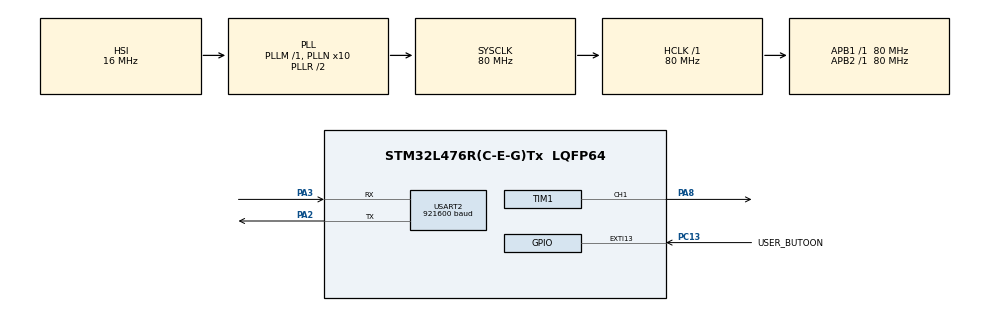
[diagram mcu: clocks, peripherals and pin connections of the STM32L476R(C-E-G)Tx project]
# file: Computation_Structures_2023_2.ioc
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Dma.Request0=USART2_TX
Dma.USART2_TX.0.Direction=DMA_MEMORY_TO_PERIPH
Dma.USART2_TX.0.Instance=DMA1_Channel7
Dma.USART2_TX.0.MemDataAlignment=DMA_MDATAALIGN_BYTE
Dma.USART2_TX.0.MemInc=DMA_MINC_ENABLE
Dma.USART2_TX.0.Mode=DMA_NORMAL
Dma.USART2_TX.0.PeriphDataAlignment=DMA_PDATAALIGN_BYTE
Dma.USART2_TX.0.PeriphInc=DMA_PINC_DISABLE
Dma.USART2_TX.0.Priority=DMA_PRIORITY_LOW
Mcu.Family=STM32L4
Mcu.Name=STM32L476R(C-E-G)Tx
Mcu.Package=LQFP64
NVIC.DMA1_Channel7_IRQn=true\:0\:0\:false\:false\:true\:false\:true\:true
NVIC.EXTI15_10_IRQn=true\:0\:0\:false\:false\:true\:true\:true\:true
NVIC.PriorityGroup=NVIC_PRIORITYGROUP_4
NVIC.TIM7_IRQn=true\:0\:0\:false\:false\:true\:true\:true\:true
NVIC.USART2_IRQn=true\:0\:0\:false\:false\:true\:true\:true\:true
PA2.Mode=Asynchronous
PA2.Signal=USART2_TX
PA3.Mode=Asynchronous
PA3.Signal=USART2_RX
PA8.Signal=S_TIM1_CH1
PC13.GPIO_Label=USER_BUTOON
PC13.Signal=GPXTI13
PH0-OSC_IN\ (PH0).Mode=HSE-External-Oscillator
PH0-OSC_IN\ (PH0).Signal=RCC_OSC_IN
PH1-OSC_OUT\ (PH1).Mode=HSE-External-Oscillator
PH1-OSC_OUT\ (PH1).Signal=RCC_OSC_OUT
ProjectManager.HeapSize=0x200
ProjectManager.StackSize=0x400
ProjectManager.TargetToolchain=STM32CubeIDE
RCC.ADCFreq_Value=64000000
RCC.AHBFreq_Value=80000000
RCC.APB1Freq_Value=80000000
RCC.APB1TimFreq_Value=80000000
RCC.APB2Freq_Value=80000000
RCC.APB2TimFreq_Value=80000000
RCC.CortexFreq_Value=80000000
RCC.HCLKFreq_Value=80000000
RCC.HSE_VALUE=8000000
RCC.HSI_VALUE=16000000
RCC.LSE_VALUE=32768
RCC.MSI_VALUE=4000000
RCC.PLLN=10
RCC.PLLSourceVirtual=RCC_PLLSOURCE_HSI
RCC.PREFETCH_ENABLE=1
RCC.SYSCLKFreq_VALUE=80000000
RCC.SYSCLKSource=RCC_SYSCLKSOURCE_PLLCLK
RCC.USBFreq_Value=64000000
RCC.VCOOutputFreq_Value=160000000
SH.S_TIM1_CH1.0=TIM1_CH1,PWM Generation1 CH1
TIM1.Channel-PWM\ Generation1\ CH1=TIM_CHANNEL_1
TIM1.Prescaler=800-1
TIM7.Period=10000-1
TIM7.Prescaler=8000-1
USART2.BaudRate=921600
USART2.VirtualMode-Asynchronous=VM_ASYNC
VP_TIM1_VS_ClockSourceINT.Mode=Internal
VP_TIM7_VS_ClockSourceINT.Mode=Enable_Timer
board=NUCLEO-L476RG

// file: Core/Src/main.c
/* USER CODE BEGIN Header */
/**
  ******************************************************************************
  * @file           : main.c
  * @brief          : Main program body
  ******************************************************************************
  * @attention
  *
  * Copyright (c) 2023 STMicroelectronics.
  * All rights reserved.
  *
  * This software is licensed under terms that can be found in the LICENSE file
  * in the root directory of this software component.
  * If no LICENSE file comes with this software, it is provided AS-IS.
  *
  ******************************************************************************
  */
/* USER CODE END Header */
#include "main.h"

/* USER CODE BEGIN Includes */
#include <stdio.h>
/* USER CODE END Includes */

TIM_HandleTypeDef htim1;
TIM_HandleTypeDef htim7;

UART_HandleTypeDef huart2;
DMA_HandleTypeDef hdma_usart2_tx;

void SystemClock_Config(void);
static void MX_GPIO_Init(void);
static void MX_DMA_Init(void);
static void MX_USART2_UART_Init(void);
static void MX_TIM7_Init(void);
static void MX_TIM1_Init(void);

/* USER CODE BEGIN 0 */
uint8_t Rx_data[4];
uint8_t tx_busy=0;
int _write(int file, char *ptr, int len)
{
	while (tx_busy != 0) {/* Wait */}
  HAL_UART_Transmit_DMA(&huart2, (uint8_t *)ptr, len);
  tx_busy = 1;
  return len;
}

void HAL_UART_RxCpltCallback(UART_HandleTypeDef *huart)
{
	printf("Received: [%s]\r\n", Rx_data);
		HAL_UART_Receive_IT(&huart2, Rx_data, 1);
}

void HAL_UART_TxCpltCallback(UART_HandleTypeDef *huart)
{
	tx_busy = 0;

}

void HAL_TIM_PeriodElapsedCallback(TIM_HandleTypeDef *htim)
{
	static uint32_t counter = 0;

	printf("counter: %ld\r\n", counter++);
}
/* USER CODE END 0 */

int main(void)
{

  /* MCU Configuration--------------------------------------------------------*/

  /* Reset of all peripherals, Initializes the Flash interface and the Systick. */
  HAL_Init();

  /* Configure the system clock */
  SystemClock_Config();

  /* Initialize all configured peripherals */
  MX_GPIO_Init();
  MX_DMA_Init();
  MX_USART2_UART_Init();
  MX_TIM7_Init();
  MX_TIM1_Init();
  /* USER CODE BEGIN 2 */

  HAL_UART_Receive_IT (&huart2, Rx_data, 1);

//  HAL_UART_Receive_DMA (&huart2, Rx_data, 4);

  HAL_TIM_Base_Start_IT(&htim7);

  TIM1->CCR1 = 40; // To set the compare channel 1
  HAL_TIM_PWM_Start (&htim1, TIM_CHANNEL_1);
  /* USER CODE END 2 */

  /* Infinite loop */
  /* USER CODE BEGIN WHILE */

  for (uint8_t idx =0; idx <= 0x0F; idx++)
	  printf("IDX: 0x%02X\r\n", idx);

  while (1)
  {
    /* USER CODE END WHILE */

    /* USER CODE BEGIN 3 */
	//  HAL_UART_Receive (&huart2, Rx_data, 4, 1000);

	// HAL_GPIO_TogglePin (GPIOA, GPIO_PIN_5);
	// HAL_Delay (250);
  }
  /* USER CODE END 3 */
}

void SystemClock_Config(void)
{
  RCC_OscInitTypeDef RCC_OscInitStruct = {0};
  RCC_ClkInitTypeDef RCC_ClkInitStruct = {0};

  /** Configure the main internal regulator output voltage
  */
  if (HAL_PWREx_ControlVoltageScaling(PWR_REGULATOR_VOLTAGE_SCALE1) != HAL_OK)
  {
    Error_Handler();
  }

  /** Initializes the RCC Oscillators according to the specified parameters
  * in the RCC_OscInitTypeDef structure.
  */
  RCC_OscInitStruct.OscillatorType = RCC_OSCILLATORTYPE_HSI;
  RCC_OscInitStruct.HSIState = RCC_HSI_ON;
  RCC_OscInitStruct.HSICalibrationValue = RCC_HSICALIBRATION_DEFAULT;
  RCC_OscInitStruct.PLL.PLLState = RCC_PLL_ON;
  RCC_OscInitStruct.PLL.PLLSource = RCC_PLLSOURCE_HSI;
  RCC_OscInitStruct.PLL.PLLM = 1;
  RCC_OscInitStruct.PLL.PLLN = 10;
  RCC_OscInitStruct.PLL.PLLP = RCC_PLLP_DIV7;
  RCC_OscInitStruct.PLL.PLLQ = RCC_PLLQ_DIV2;
  RCC_OscInitStruct.PLL.PLLR = RCC_PLLR_DIV2;
  if (HAL_RCC_OscConfig(&RCC_OscInitStruct) != HAL_OK)
  {
    Error_Handler();
  }

  /** Initializes the CPU, AHB and APB buses clocks
  */
  RCC_ClkInitStruct.ClockType = RCC_CLOCKTYPE_HCLK|RCC_CLOCKTYPE_SYSCLK
                              |RCC_CLOCKTYPE_PCLK1|RCC_CLOCKTYPE_PCLK2;
  RCC_ClkInitStruct.SYSCLKSource = RCC_SYSCLKSOURCE_PLLCLK;
  RCC_ClkInitStruct.AHBCLKDivider = RCC_SYSCLK_DIV1;
  RCC_ClkInitStruct.APB1CLKDivider = RCC_HCLK_DIV1;
  RCC_ClkInitStruct.APB2CLKDivider = RCC_HCLK_DIV1;

  if (HAL_RCC_ClockConfig(&RCC_ClkInitStruct, FLASH_LATENCY_4) != HAL_OK)
  {
    Error_Handler();
  }
}

static void MX_TIM1_Init(void)
{

  TIM_ClockConfigTypeDef sClockSourceConfig = {0};
  TIM_MasterConfigTypeDef sMasterConfig = {0};
  TIM_OC_InitTypeDef sConfigOC = {0};
  TIM_BreakDeadTimeConfigTypeDef sBreakDeadTimeConfig = {0};

  htim1.Instance = TIM1;
  htim1.Init.Prescaler = 800-1;
  htim1.Init.CounterMode = TIM_COUNTERMODE_UP;
  htim1.Init.Period = 100;
  htim1.Init.ClockDivision = TIM_CLOCKDIVISION_DIV1;
  htim1.Init.RepetitionCounter = 0;
  htim1.Init.AutoReloadPreload = TIM_AUTORELOAD_PRELOAD_DISABLE;
  if (HAL_TIM_Base_Init(&htim1) != HAL_OK)
  {
    Error_Handler();
  }
  sClockSourceConfig.ClockSource = TIM_CLOCKSOURCE_INTERNAL;
  if (HAL_TIM_ConfigClockSource(&htim1, &sClockSourceConfig) != HAL_OK)
  {
    Error_Handler();
  }
  if (HAL_TIM_PWM_Init(&htim1) != HAL_OK)
  {
    Error_Handler();
  }
  sMasterConfig.MasterOutputTrigger = TIM_TRGO_RESET;
  sMasterConfig.MasterOutputTrigger2 = TIM_TRGO2_RESET;
  sMasterConfig.MasterSlaveMode = TIM_MASTERSLAVEMODE_DISABLE;
  if (HAL_TIMEx_MasterConfigSynchronization(&htim1, &sMasterConfig) != HAL_OK)
  {
    Error_Handler();
  }
  sConfigOC.OCMode = TIM_OCMODE_PWM1;
  sConfigOC.Pulse = 0;
  sConfigOC.OCPolarity = TIM_OCPOLARITY_HIGH;
  sConfigOC.OCNPolarity = TIM_OCNPOLARITY_HIGH;
  sConfigOC.OCFastMode = TIM_OCFAST_DISABLE;
  sConfigOC.OCIdleState = TIM_OCIDLESTATE_RESET;
  sConfigOC.OCNIdleState = TIM_OCNIDLESTATE_RESET;
  if (HAL_TIM_PWM_ConfigChannel(&htim1, &sConfigOC, TIM_CHANNEL_1) != HAL_OK)
  {
    Error_Handler();
  }
  sBreakDeadTimeConfig.OffStateRunMode = TIM_OSSR_DISABLE;
  sBreakDeadTimeConfig.OffStateIDLEMode = TIM_OSSI_DISABLE;
  sBreakDeadTimeConfig.LockLevel = TIM_LOCKLEVEL_OFF;
  sBreakDeadTimeConfig.DeadTime = 0;
  sBreakDeadTimeConfig.BreakState = TIM_BREAK_DISABLE;
  sBreakDeadTimeConfig.BreakPolarity = TIM_BREAKPOLARITY_HIGH;
  sBreakDeadTimeConfig.BreakFilter = 0;
  sBreakDeadTimeConfig.Break2State = TIM_BREAK2_DISABLE;
  sBreakDeadTimeConfig.Break2Polarity = TIM_BREAK2POLARITY_HIGH;
  sBreakDeadTimeConfig.Break2Filter = 0;
  sBreakDeadTimeConfig.AutomaticOutput = TIM_AUTOMATICOUTPUT_DISABLE;
  if (HAL_TIMEx_ConfigBreakDeadTime(&htim1, &sBreakDeadTimeConfig) != HAL_OK)
  {
    Error_Handler();
  }
  HAL_TIM_MspPostInit(&htim1);

}

static void MX_TIM7_Init(void)
{

  TIM_MasterConfigTypeDef sMasterConfig = {0};

  htim7.Instance = TIM7;
  htim7.Init.Prescaler = 8000-1;
  htim7.Init.CounterMode = TIM_COUNTERMODE_UP;
  htim7.Init.Period = 10000-1;
  htim7.Init.AutoReloadPreload = TIM_AUTORELOAD_PRELOAD_DISABLE;
  if (HAL_TIM_Base_Init(&htim7) != HAL_OK)
  {
    Error_Handler();
  }
  sMasterConfig.MasterOutputTrigger = TIM_TRGO_RESET;
  sMasterConfig.MasterSlaveMode = TIM_MASTERSLAVEMODE_DISABLE;
  if (HAL_TIMEx_MasterConfigSynchronization(&htim7, &sMasterConfig) != HAL_OK)
  {
    Error_Handler();
  }

}

static void MX_USART2_UART_Init(void)
{

  huart2.Instance = USART2;
  huart2.Init.BaudRate = 921600;
  huart2.Init.WordLength = UART_WORDLENGTH_8B;
  huart2.Init.StopBits = UART_STOPBITS_1;
  huart2.Init.Parity = UART_PARITY_NONE;
  huart2.Init.Mode = UART_MODE_TX_RX;
  huart2.Init.HwFlowCtl = UART_HWCONTROL_NONE;
  huart2.Init.OverSampling = UART_OVERSAMPLING_16;
  huart2.Init.OneBitSampling = UART_ONE_BIT_SAMPLE_DISABLE;
  huart2.AdvancedInit.AdvFeatureInit = UART_ADVFEATURE_NO_INIT;
  if (HAL_UART_Init(&huart2) != HAL_OK)
  {
    Error_Handler();
  }

}

static void MX_DMA_Init(void)
{

  /* DMA controller clock enable */
  __HAL_RCC_DMA1_CLK_ENABLE();

  /* DMA interrupt init */
  /* DMA1_Channel7_IRQn interrupt configuration */
  HAL_NVIC_SetPriority(DMA1_Channel7_IRQn, 0, 0);
  HAL_NVIC_EnableIRQ(DMA1_Channel7_IRQn);

}

static void MX_GPIO_Init(void)
{
  GPIO_InitTypeDef GPIO_InitStruct = {0};

  /* GPIO Ports Clock Enable */
  __HAL_RCC_GPIOC_CLK_ENABLE();
  __HAL_RCC_GPIOH_CLK_ENABLE();
  __HAL_RCC_GPIOA_CLK_ENABLE();

  /*Configure GPIO pin : USER_BUTOON_Pin */
  GPIO_InitStruct.Pin = USER_BUTOON_Pin;
  GPIO_InitStruct.Mode = GPIO_MODE_IT_RISING;
  GPIO_InitStruct.Pull = GPIO_NOPULL;
  HAL_GPIO_Init(USER_BUTOON_GPIO_Port, &GPIO_InitStruct);

  /* EXTI interrupt init*/
  HAL_NVIC_SetPriority(EXTI15_10_IRQn, 0, 0);
  HAL_NVIC_EnableIRQ(EXTI15_10_IRQn);

}

void Error_Handler(void)
{
  __disable_irq();
  while (1)
  {
  }
}
